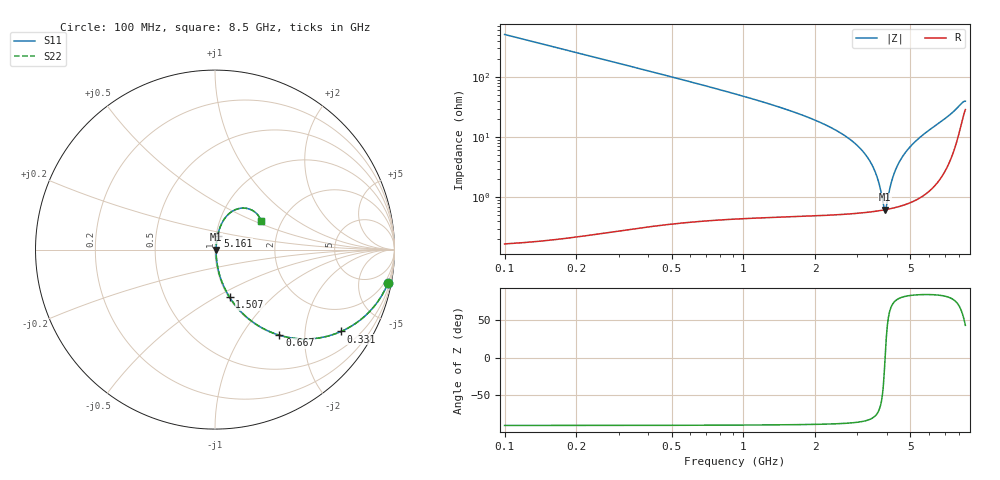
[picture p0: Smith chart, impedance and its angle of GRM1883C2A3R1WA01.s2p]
!Murata Part Number: GRM1883C2A3R1WA01
!These Parameters are Measured in Series Mode Connection
!Data Generated on Mar 30, 2021
!  o--ll--o
!Port1  Port2
!  o------o
!Operation Temp=25[degC], DC Bias Voltage=0[V]
!Freq. Start=100[MHz] Stop=9[GHz] 401[Steps]
# Hz S RI R 50
!Freq.(Hz) S11(Real) S11(Imag) S21(Real) S21(Imag) S12(Real) S12(Imag) S22(Real) S22(Imag)
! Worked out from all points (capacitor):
!   401 points, 100 MHz to 8.5 GHz, reference 50 ohm
!   read as one part in series: C = 3.1 pF near 142 MHz
!   lowest |Z| = 619 mohm at 3.922 GHz (marker M1)
!   series resonance near 3.919 GHz, so ESL is about 530 pH
!   S11 on the Smith chart (normalised r, x): 100 MHz: 1, -10; 331 MHz: 1.01, -3.08; 667 MHz: 1.01, -1.49; 1.507 GHz: 1.01, -0.58; 5.161 GHz: 1.02, +0.16; 8.5 GHz: 1.58, +0.55
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1e8  0.9633 -0.1878  0.0367 0.1878  0.0367 0.1878  0.9633 -0.1878
2.26e8  0.8364 -0.3694  0.1636 0.3694  0.1636 0.3694  0.8364 -0.3694
3.31e8  0.7027 -0.4561  0.2973 0.4561  0.2973 0.4561  0.7027 -0.4561
4.78e8  0.5276 -0.4976  0.4724 0.4976  0.4724 0.4976  0.5276 -0.4976
6.67e8  0.3588 -0.477  0.6412 0.477  0.6412 0.477  0.3588 -0.477
1.024e9  0.1815 -0.3807  0.8185 0.3807  0.8185 0.3807  0.1815 -0.3807
1.507e9  0.0818 -0.2661  0.9182 0.2661  0.9182 0.2661  0.0818 -0.2661
2.914e9  0.0116 -0.0789  0.9884 0.0789  0.9884 0.0789  0.0116 -0.0789
3.25e9  0.00804 -0.0498  0.992 0.0498  0.992 0.0498  0.00804 -0.0498
3.502e9  0.00665 -0.03  0.9934 0.03  0.9934 0.03  0.00665 -0.03
3.67e9  0.0062 -0.0176  0.9938 0.0176  0.9938 0.0176  0.0062 -0.0176
3.859e9  0.0061 -0.00415  0.9939 0.00415  0.9939 0.00415  0.0061 -0.00415
3.922e9  0.00615 0.000196  0.9938 -0.000196  0.9938 -0.000196  0.00615 0.000196
3.964e9  0.00621 0.00306  0.9938 -0.00306  0.9938 -0.00306  0.00621 0.00306
4.153e9  0.00669 0.0157  0.9933 -0.0157  0.9933 -0.0157  0.00669 0.0157
4.3e9  0.00729 0.0252  0.9927 -0.0252  0.9927 -0.0252  0.00729 0.0252
4.657e9  0.00953 0.0474  0.9905 -0.0474  0.9905 -0.0474  0.00953 0.0474
5.161e9  0.0146 0.0774  0.9854 -0.0774  0.9854 -0.0774  0.0146 0.0774
5.707e9  0.0228 0.1088  0.9772 -0.1088  0.9772 -0.1088  0.0228 0.1088
7.114e9  0.0701 0.1926  0.9299 -0.1926  0.9299 -0.1926  0.0701 0.1926
8.017e9  0.1719 0.2304  0.8281 -0.2304  0.8281 -0.2304  0.1719 0.2304
8.5e9  0.2571 0.1577  0.7429 -0.1577  0.7429 -0.1577  0.2571 0.1577
